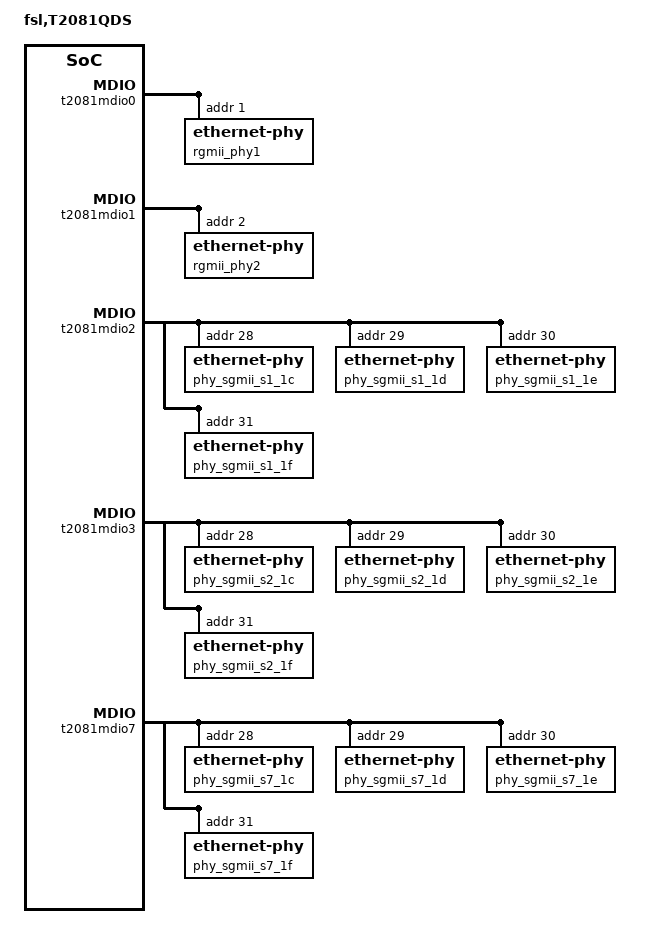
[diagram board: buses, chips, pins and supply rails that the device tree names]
/*
 * T2081QDS Device Tree Source
 *
 * Copyright 2013 Freescale Semiconductor Inc.
 *
 * Redistribution and use in source and binary forms, with or without
 * modification, are permitted provided that the following conditions are met:
 *     * Redistributions of source code must retain the above copyright
 *	 notice, this list of conditions and the following disclaimer.
 *     * Redistributions in binary form must reproduce the above copyright
 *	 notice, this list of conditions and the following disclaimer in the
 *	 documentation and/or other materials provided with the distribution.
 *     * Neither the name of Freescale Semiconductor nor the
 *	 names of its contributors may be used to endorse or promote products
 *	 derived from this software without specific prior written permission.
 *
 *
 * ALTERNATIVELY, this software may be distributed under the terms of the
 * GNU General Public License ("GPL") as published by the Free Software
 * Foundation, either version 2 of that License or (at your option) any
 * later version.
 *
 * THIS SOFTWARE IS PROVIDED BY Freescale Semiconductor "AS IS" AND ANY
 * EXPRESS OR IMPLIED WARRANTIES, INCLUDING, BUT NOT LIMITED TO, THE IMPLIED
 * WARRANTIES OF MERCHANTABILITY AND FITNESS FOR A PARTICULAR PURPOSE ARE
 * DISCLAIMED. IN NO EVENT SHALL Freescale Semiconductor BE LIABLE FOR ANY
 * DIRECT, INDIRECT, INCIDENTAL, SPECIAL, EXEMPLARY, OR CONSEQUENTIAL DAMAGES
 * (INCLUDING, BUT NOT LIMITED TO, PROCUREMENT OF SUBSTITUTE GOODS OR SERVICES;
 * LOSS OF USE, DATA, OR PROFITS; OR BUSINESS INTERRUPTION) HOWEVER CAUSED AND
 * ON ANY THEORY OF LIABILITY, WHETHER IN CONTRACT, STRICT LIABILITY, OR TORT
 * (INCLUDING NEGLIGENCE OR OTHERWISE) ARISING IN ANY WAY OUT OF THE USE OF THIS
 * SOFTWARE, EVEN IF ADVISED OF THE POSSIBILITY OF SUCH DAMAGE.
 */

/include/ "t208xsi-pre.dtsi"
/include/ "t208xqds.dtsi"

/ {
	model = "fsl,T2081QDS";
	compatible = "fsl,T2081QDS";
	#address-cells = <2>;
	#size-cells = <2>;
	interrupt-parent = <&mpic>;

	aliases {
		emi1_slot1 = &t2081mdio2;
		emi1_slot2 = &t2081mdio3;
		emi1_slot3 = &t2081mdio4;
		emi1_slot5 = &t2081mdio5;
		emi1_slot6 = &t2081mdio6;
		emi1_slot7 = &t2081mdio7;
	};
};

&soc {
	fman0: fman@400000 {
		fm1mac1: ethernet@e0000 { /* DTSEC1 */
			phy-handle = <&phy_sgmii_s7_1c>;
			phy-connection-type = "sgmii";
		};

		fm1mac2: ethernet@e2000 { /* DTSEC2 */
			phy-handle = <&phy_sgmii_s7_1d>;
			phy-connection-type = "sgmii";
		};

		fm1mac3: ethernet@e4000 {
			phy-handle = <&rgmii_phy1>;
			phy-connection-type = "rgmii";
		};

		fm1mac4: ethernet@e6000 {
			phy-handle = <&rgmii_phy2>;
			phy-connection-type = "rgmii";
		};

		fm1mac5: ethernet@e8000 {
			phy-handle = <&phy_sgmii_s3_1c>;
			phy-connection-type = "sgmii";
		};

		fm1mac6: ethernet@ea000 {
			phy-handle = <&phy_sgmii_s7_1f>;
			phy-connection-type = "sgmii";
		};

		fm1mac9: ethernet@f0000 { /* DTSEC9/10GEC1 */
			phy-handle = <&phy_sgmii_s2_1c>;
			phy-connection-type = "xgmii";
		};

		fm1mac10: ethernet@f2000 { /* DTSEC10/10GEC2 */
			phy-handle = <&phy_sgmii_s7_1e>;
			phy-connection-type = "xgmii";
		};

		mdio0: mdio@fc000 {
		};

		xmdio0: mdio@fd000 {
		};
	};
};

&boardctrl {
	mdio-mux-emi1 {
		compatible = "mdio-mux-mmioreg", "mdio-mux";
		mdio-parent-bus = <&mdio0>;
		#address-cells = <1>;
		#size-cells = <0>;
		reg = <0x54 1>;    /* BRDCFG4 */
		mux-mask = <0xe0>; /* EMI1 */

		/* On-board RGMII1 PHY */
		t2081mdio0: mdio@0 {
			reg = <0>;
			#address-cells = <1>;
			#size-cells = <0>;

			rgmii_phy1: ethernet-phy@1 {
				reg = <0x1>;
			};
		};

		/* On-board RGMII2 PHY */
		t2081mdio1: mdio@20 {
			reg = <0x20>;
			#address-cells = <1>;
			#size-cells = <0>;

			rgmii_phy2: ethernet-phy@2 {
				reg = <0x2>;
			};
		};

		/* Slot 1 */
		t2081mdio2: mdio@40 {
			reg = <0x40>;
			#address-cells = <1>;
			#size-cells = <0>;

			phy_sgmii_s1_1c: ethernet-phy@1c {
				reg = <0x1c>;
			};
			phy_sgmii_s1_1d: ethernet-phy@1d {
				reg = <0x1d>;
			};
			phy_sgmii_s1_1e: ethernet-phy@1e {
				reg = <0x1e>;
			};
			phy_sgmii_s1_1f: ethernet-phy@1f {
				reg = <0x1f>;
			};
		};

		/* Slot 2 */
		t2081mdio3: mdio@60 {
			reg = <0x60>;
			#address-cells = <1>;
			#size-cells = <0>;

			phy_sgmii_s2_1c: ethernet-phy@1c {
				reg = <0x1c>;
			};
			phy_sgmii_s2_1d: ethernet-phy@1d {
				reg = <0x1d>;
			};
			phy_sgmii_s2_1e: ethernet-phy@1e {
				reg = <0x1e>;
			};
			phy_sgmii_s2_1f: ethernet-phy@1f {
				reg = <0x1f>;
			};
		};

		/* Slot 3 */
		t2081mdio4: mdio@80 {
			reg = <0x80>;
			#address-cells = <1>;
			#size-cells = <0>;
			status = "disabled";

			phy_sgmii_s3_1c: ethernet-phy@1c {
				reg = <0x1c>;
			};
			phy_sgmii_s3_1d: ethernet-phy@1d {
				reg = <0x1d>;
			};
			phy_sgmii_s3_1e: ethernet-phy@1e {
				reg = <0x1e>;
			};
			phy_sgmii_s3_1f: ethernet-phy@1f {
				reg = <0x1f>;
			};
		};

		/* Slot 5 */
		t2081mdio5: mdio@a0 {
			reg = <0xa0>;
			#address-cells = <1>;
			#size-cells = <0>;
			status = "disabled";

			phy_sgmii_s5_1c: ethernet-phy@1c {
				reg = <0x1c>;
			};
			phy_sgmii_s5_1d: ethernet-phy@1d {
				reg = <0x1d>;
			};
			phy_sgmii_s5_1e: ethernet-phy@1e {
				reg = <0x1e>;
			};
			phy_sgmii_s5_1f: ethernet-phy@1f {
				reg = <0x1f>;
			};
		};

		/* Slot 6 */
		t2081mdio6: mdio@c0 {
			reg = <0xc0>;
			#address-cells = <1>;
			#size-cells = <0>;
			status = "disabled";

			phy_sgmii_s6_1c: ethernet-phy@1c {
				reg = <0x1c>;
			};
			phy_sgmii_s6_1d: ethernet-phy@1d {
				reg = <0x1d>;
			};
			phy_sgmii_s6_1e: ethernet-phy@1e {
				reg = <0x1e>;
			};
			phy_sgmii_s6_1f: ethernet-phy@1f {
				reg = <0x1f>;
			};
		};

		/* Slot 7 */
		t2081mdio7: mdio@e0 {
			reg = <0xe0>;
			#address-cells = <1>;
			#size-cells = <0>;

			phy_sgmii_s7_1c: ethernet-phy@1c {
				reg = <0x1c>;
			};
			phy_sgmii_s7_1d: ethernet-phy@1d {
				reg = <0x1d>;
			};
			phy_sgmii_s7_1e: ethernet-phy@1e {
				reg = <0x1e>;
			};
			phy_sgmii_s7_1f: ethernet-phy@1f {
				reg = <0x1f>;
			};
		};
	};
};

/include/ "t2081si-post.dtsi"
/include/ "qoriq-dpaa-res3.dtsi"
/include/ "qoriq-qman-ceetm0.dtsi"
